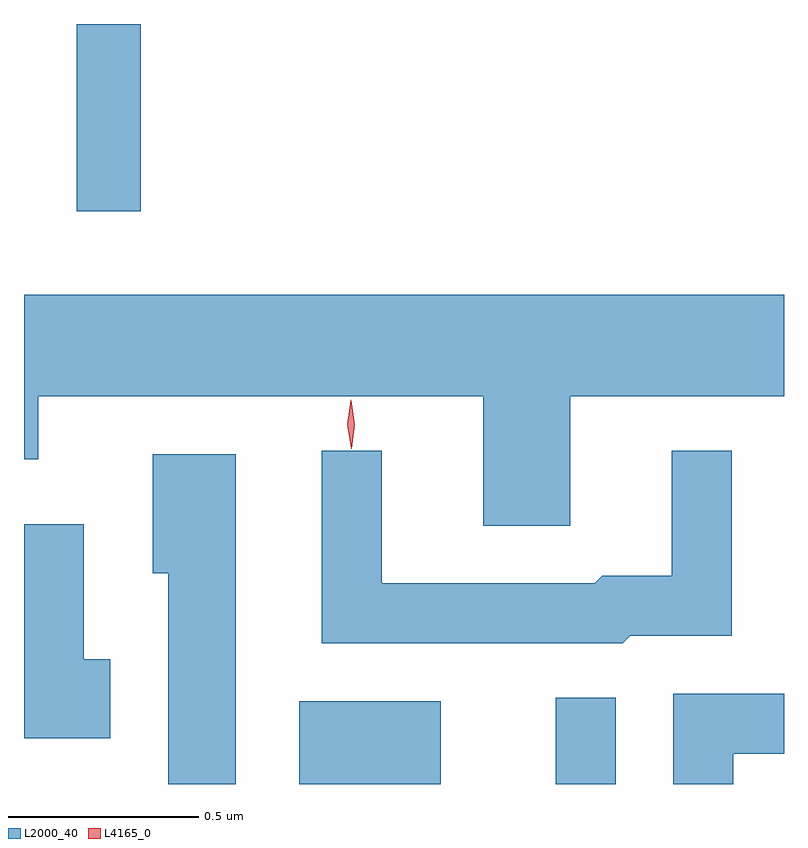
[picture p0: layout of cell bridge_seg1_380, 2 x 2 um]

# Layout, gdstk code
import gdstk
lib = gdstk.Library(unit=1e-6, precision=1e-09)
def R(c, l, rs):  # rectangles x0, y0, x1, y1
    for r in rs: c.add(gdstk.rectangle(r[:2], r[2:], *l))
def P(c, l, *ps):  # polygons
    for p in ps: c.add(gdstk.Polygon(p, *l))
L2000_40 = (2000, 40)
L4165_0 = (4165, 0)

bridge_seg1_380 = lib.new_cell('bridge_seg1_380')
R(bridge_seg1_380, L2000_40, [(839.116,867.476,839.489,867.694), (839.791,867.476,839.949,867.703), (838.531,868.983,838.699,869.476)])
P(bridge_seg1_380, L2000_40, [(839.829,868.496),(840.392,868.496),(840.392,868.764),(838.392,868.764),(838.392,868.331),(838.429,868.331),(838.429,868.496),(839.601,868.496),(839.601,868.156),(839.829,868.156)],
  [(839.987,867.866),(840.254,867.866),(840.254,868.353),(840.096,868.353),(840.096,868.024),(839.914,868.024),(839.894,868.004),(839.334,868.004),(839.334,868.353),(839.176,868.353),(839.176,867.846),(839.967,867.846)],
  [(838.949,868.344),(838.731,868.344),(838.731,868.031),(838.771,868.031),(838.771,867.476),(838.949,867.476)],
  [(838.619,867.804),(838.549,867.804),(838.549,868.159),(838.392,868.159),(838.392,867.596),(838.619,867.596)],
  [(840.259,867.556),(840.392,867.556),(840.392,867.714),(840.101,867.714),(840.101,867.476),(840.259,867.476)])
P(bridge_seg1_380, L4165_0, [(839.253,868.358),(839.253,868.358),(839.243,868.422),(839.252,868.486),(839.252,868.487),(839.253,868.486),(839.263,868.422),(839.254,868.358)])

lib.write_gds('bridge_seg1_380.gds')
